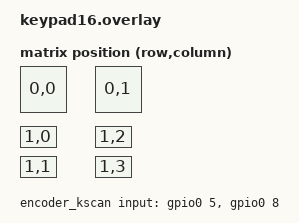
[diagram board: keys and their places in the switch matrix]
#include <physical_layouts.dtsi>
#include <zephyr/dt-bindings/input/input-event-codes.h>

/ {
    chosen {
        zmk,kscan = &composite_kscan;
        zmk,physical-layout = &default_layout;
    };

    /* Zephyr gpio-qdec encoder devices - handles quadrature decoding */
    encoder_left: encoder_left {
        compatible = "gpio-qdec";
        gpios = <&gpio0 3 (GPIO_PULL_UP | GPIO_ACTIVE_HIGH)>,
                <&gpio0 4 (GPIO_PULL_UP | GPIO_ACTIVE_HIGH)>;
        steps-per-period = <4>;
        zephyr,axis = <INPUT_REL_X>;
        sample-time-us = <2000>;
        idle-timeout-ms = <200>;
    };

    encoder_right: encoder_right {
        compatible = "gpio-qdec";
        gpios = <&gpio0 6 (GPIO_PULL_UP | GPIO_ACTIVE_HIGH)>,
                <&gpio0 7 (GPIO_PULL_UP | GPIO_ACTIVE_HIGH)>;
        steps-per-period = <4>;
        zephyr,axis = <INPUT_REL_Y>;
        sample-time-us = <2000>;
        idle-timeout-ms = <200>;
    };

    /* Virtual kscan - triggered by gpio-qdec input events
     * No GPIO scanning - purely software-defined key positions
     * Layout: row 0, cols 0-3 for the 4 encoder directions
     *   Col 0: Left CW   (INPUT_REL_X, positive)
     *   Col 1: Left CCW  (INPUT_REL_X, negative)
     *   Col 2: Right CW  (INPUT_REL_Y, positive)
     *   Col 3: Right CCW (INPUT_REL_Y, negative)
     */
    virtual_kscan: virtual_kscan {
        compatible = "zmk,kscan-virtual";
        input-codes = <INPUT_REL_X INPUT_REL_X INPUT_REL_Y INPUT_REL_Y>;
        input-directions = <1 (-1) 1 (-1)>;
    };

    /* Encoder button switches
     * Outputs: row 0, col = button index
     *   Row 0, Col 0 = Left button
     *   Row 0, Col 1 = Right button
     */
    encoder_kscan: encoder_kscan {
        compatible = "zmk,kscan-gpio-direct";
        input-gpios = <&gpio0 5 (GPIO_ACTIVE_LOW | GPIO_PULL_UP)>,
                      <&gpio0 8 (GPIO_ACTIVE_LOW | GPIO_PULL_UP)>;
    };

    /* Composite kscan combining encoder buttons and virtual rotation keys
     *
     * Final matrix layout (2 rows × 4 columns):
     *   Row 0: Left button (col 0), Right button (col 1)  <- from encoder_kscan
     *   Row 1: Left CW (col 0), Left CCW (col 1), Right CW (col 2), Right CCW (col 3) <- virtual
     */
    composite_kscan: composite_kscan {
        compatible = "zmk,kscan-composite";
        rows = <2>;
        columns = <4>;

        encoder_switches {
            kscan = <&encoder_kscan>;
            row-offset = <0>;
        };

        virtual_keys {
            kscan = <&virtual_kscan>;
            row-offset = <1>;
        };
    };

    default_transform: keymap_transform_0 {
        compatible = "zmk,matrix-transform";
        columns = <4>;
        rows = <2>;
        /* Map: RC(row, col) -> keymap position
         *   Position 0 = RC(0,0) = Left button
         *   Position 1 = RC(0,1) = Right button
         *   Position 2 = RC(1,0) = Left CW   (virtual)
         *   Position 3 = RC(1,1) = Left CCW  (virtual)
         *   Position 4 = RC(1,2) = Right CW  (virtual)
         *   Position 5 = RC(1,3) = Right CCW (virtual)
         */
        map = <
            RC(0,0) RC(0,1)
            RC(1,0) RC(1,1) RC(1,2) RC(1,3)
        >;
    };

    default_layout: default_layout {
        compatible = "zmk,physical-layout";
        display-name = "Encoder Pad";
        transform = <&default_transform>;
        kscan = <&composite_kscan>;

        keys  //                    w   h   x    y    rot  rx   ry
            // Encoder buttons (row 0 - physical GPIO)
            = <&key_physical_attrs 100 100   0    0    0    0    0>  // 0: Left encoder button
            , <&key_physical_attrs 100 100 150    0    0    0    0>  // 1: Right encoder button
            // Encoder rotations (row 1 - virtual keys, no GPIO)
            , <&key_physical_attrs  80  50   0  120    0    0    0>  // 2: Left CW (virtual)
            , <&key_physical_attrs  80  50   0  180    0    0    0>  // 3: Left CCW (virtual)
            , <&key_physical_attrs  80  50 150  120    0    0    0>  // 4: Right CW (virtual)
            , <&key_physical_attrs  80  50 150  180    0    0    0>  // 5: Right CCW (virtual)
            ;
    };
};

&zephyr_udc0 {
    status = "okay";
};
